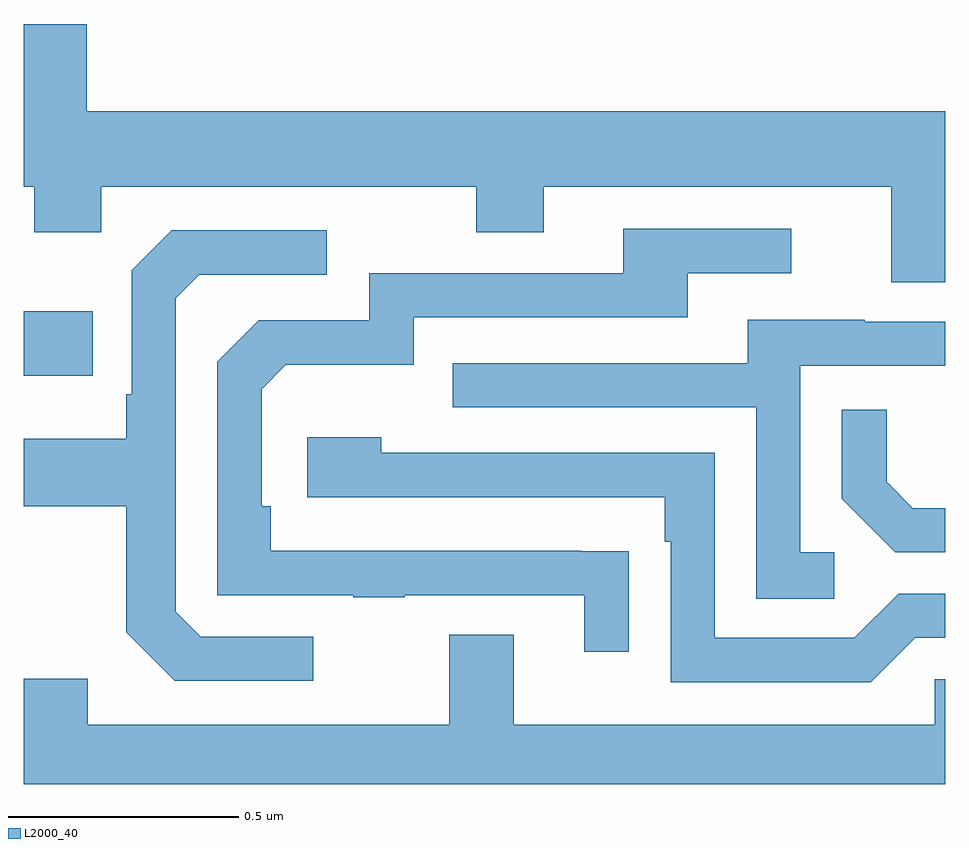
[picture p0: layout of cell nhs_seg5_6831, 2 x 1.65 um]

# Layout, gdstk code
import gdstk
lib = gdstk.Library(unit=1e-6, precision=1e-09)
def R(c, l, rs):  # rectangles x0, y0, x1, y1
    for r in rs: c.add(gdstk.rectangle(r[:2], r[2:], *l))
def P(c, l, *ps):  # polygons
    for p in ps: c.add(gdstk.Polygon(p, *l))
L2000_40 = (2000, 40)

nhs_seg5_6831 = lib.new_cell('nhs_seg5_6831')
R(nhs_seg5_6831, L2000_40, [(201,853.685,201.149,853.825)])
P(nhs_seg5_6831, L2000_40, [(203,854.26),(201.136,854.26),(201.136,854.449),(201,854.449),(201,854.096),(201.022,854.096),(201.022,853.997),(201.168,853.997),(201.168,854.096),(201.982,854.096),(201.982,853.997),(202.129,853.997),(202.129,854.096),(202.883,854.096),(202.883,853.888),(203,853.888)],
  [(202.313,853.304),(202.211,853.304),(202.211,853.305),(201.536,853.305),(201.536,853.402),(201.516,853.402),(201.516,853.656),(201.569,853.709),(201.846,853.709),(201.846,853.812),(202.441,853.812),(202.441,853.908),(202.666,853.908),(202.666,854.004),(202.301,854.004),(202.301,853.908),(201.75,853.908),(201.75,853.806),(201.51,853.806),(201.42,853.716),(201.42,853.209),(201.715,853.209),(201.715,853.204),(201.827,853.204),(201.827,853.209),(202.217,853.209),(202.217,853.086),(202.313,853.086)],
  [(201.628,853.119),(201.384,853.119),(201.33,853.173),(201.33,853.854),(201.381,853.905),(201.658,853.905),(201.658,854.001),(201.321,854.001),(201.234,853.914),(201.234,853.645),(201.222,853.645),(201.222,853.549),(201,853.549),(201,853.402),(201.222,853.402),(201.222,853.129),(201.327,853.023),(201.628,853.023)],
  [(202.759,853.302),(202.686,853.302),(202.686,853.707),(203,853.707),(203,853.803),(202.825,853.803),(202.825,853.807),(202.571,853.807),(202.571,853.713),(201.931,853.713),(201.931,853.617),(202.59,853.617),(202.59,853.201),(202.759,853.201)],
  [(203,853.398),(202.93,853.398),(202.873,853.455),(202.873,853.612),(202.776,853.612),(202.776,853.418),(202.892,853.302),(203,853.302)],
  [(202.935,853.116),(203,853.116),(203,853.212),(202.899,853.212),(202.803,853.116),(202.5,853.116),(202.5,853.518),(201.776,853.518),(201.776,853.552),(201.615,853.552),(201.615,853.422),(202.391,853.422),(202.391,853.325),(202.404,853.325),(202.404,853.02),(202.839,853.02)],
  [(203,853.026),(202.977,853.026),(202.977,852.928),(202.063,852.928),(202.063,853.123),(201.923,853.123),(201.923,852.928),(201.139,852.928),(201.139,853.027),(201,853.027),(201,852.799),(203,852.799)])

lib.write_gds('nhs_seg5_6831.gds')
